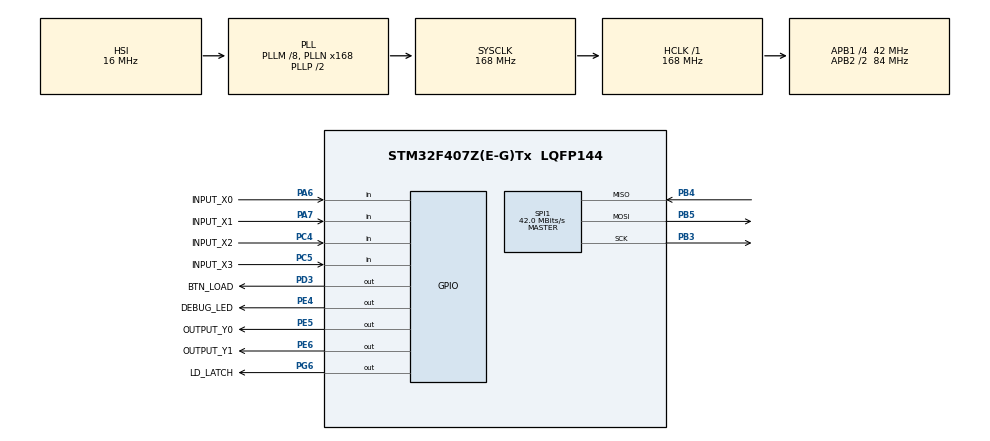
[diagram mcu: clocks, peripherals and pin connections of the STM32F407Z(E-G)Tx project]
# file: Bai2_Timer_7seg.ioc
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Mcu.Family=STM32F4
Mcu.Name=STM32F407Z(E-G)Tx
Mcu.Package=LQFP144
NVIC.PriorityGroup=NVIC_PRIORITYGROUP_4
NVIC.TIM2_IRQn=true\:0\:0\:false\:false\:true\:true\:true
PA13.Mode=Serial_Wire
PA13.Signal=SYS_JTMS-SWDIO
PA14.Mode=Serial_Wire
PA14.Signal=SYS_JTCK-SWCLK
PA6.GPIO_Label=INPUT_X0
PA6.Signal=GPIO_Input
PA7.GPIO_Label=INPUT_X1
PA7.Signal=GPIO_Input
PB3.Mode=Full_Duplex_Master
PB3.Signal=SPI1_SCK
PB4.Mode=Full_Duplex_Master
PB4.Signal=SPI1_MISO
PB5.Mode=Full_Duplex_Master
PB5.Signal=SPI1_MOSI
PC4.GPIO_Label=INPUT_X2
PC4.Signal=GPIO_Input
PC5.GPIO_Label=INPUT_X3
PC5.Signal=GPIO_Input
PD3.GPIO_Label=BTN_LOAD
PD3.Signal=GPIO_Output
PE4.GPIO_Label=DEBUG_LED
PE4.Signal=GPIO_Output
PE5.GPIO_Label=OUTPUT_Y0
PE5.Signal=GPIO_Output
PE6.GPIO_Label=OUTPUT_Y1
PE6.Signal=GPIO_Output
PG6.GPIO_Label=LD_LATCH
PG6.Signal=GPIO_Output
PH0-OSC_IN.Mode=HSE-External-Oscillator
PH0-OSC_IN.Signal=RCC_OSC_IN
PH1-OSC_OUT.Mode=HSE-External-Oscillator
PH1-OSC_OUT.Signal=RCC_OSC_OUT
ProjectManager.HeapSize=0x200
ProjectManager.StackSize=0x400
ProjectManager.TargetToolchain=STM32CubeIDE
RCC.48MHZClocksFreq_Value=84000000
RCC.AHBFreq_Value=168000000
RCC.APB1CLKDivider=RCC_HCLK_DIV4
RCC.APB1Freq_Value=42000000
RCC.APB1TimFreq_Value=84000000
RCC.APB2CLKDivider=RCC_HCLK_DIV2
RCC.APB2Freq_Value=84000000
RCC.APB2TimFreq_Value=168000000
RCC.CortexFreq_Value=168000000
RCC.HCLKFreq_Value=168000000
RCC.HSE_VALUE=8000000
RCC.HSI_VALUE=16000000
RCC.LSE_VALUE=32768
RCC.PLLM=8
RCC.PLLN=168
RCC.SYSCLKFreq_VALUE=168000000
RCC.SYSCLKSource=RCC_SYSCLKSOURCE_PLLCLK
RCC.VCOOutputFreq_Value=336000000
SPI1.BaudRatePrescaler=SPI_BAUDRATEPRESCALER_2
SPI1.CalculateBaudRate=42.0 MBits/s
SPI1.Direction=SPI_DIRECTION_2LINES
SPI1.Mode=SPI_MODE_MASTER
SPI1.VirtualType=VM_MASTER
TIM2.Period=50-1
TIM2.Prescaler=840-1
VP_TIM2_VS_ClockSourceINT.Mode=Internal
board=custom

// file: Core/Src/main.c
/* USER CODE BEGIN Header */
/**
  ******************************************************************************
  * @file           : main.c
  * @brief          : Main program body
  ******************************************************************************
  * @attention
  *
  * <h2><center>&copy; Copyright (c) 2023 STMicroelectronics.
  * All rights reserved.</center></h2>
  *
  * This software component is licensed by ST under BSD 3-Clause license,
  * the "License"; You may not use this file except in compliance with the
  * License. You may obtain a copy of the License at:
  *                        opensource.org/licenses/BSD-3-Clause
  *
  ******************************************************************************
  */
/* USER CODE END Header */
#include "main.h"
#include "spi.h"
#include "tim.h"
#include "gpio.h"

/* USER CODE BEGIN Includes */
#include "software_timer.h"
#include "led_7seg.h"
/* USER CODE END Includes */

/* USER CODE BEGIN PTD */
#ifndef EX
#define EX 5
#endif
/* USER CODE END PTD */

/* USER CODE BEGIN PV */
#if (EX == 1)
uint16_t count_led_debug = 0;
uint16_t count_led_y0 = 0;
uint16_t count_led_y1 = 0;

#elif (EX == 2)
typedef enum {STATE_RED_GREEN,
	STATE_GREEN_YELLOW,
	STATE_YELLOW_RED}
TrafficState;

TrafficState traffic_state = STATE_RED_GREEN;

uint16_t traffic_timer = 0;

#elif (EX == 3)
#define SCAN_FREQ_HZ 1

#elif (EX == 4)
uint8_t hours = 11;
uint8_t mins = 59;
uint8_t secs = 50;
uint16_t count_sec = 0;
uint16_t count_colon = 0;
uint8_t colon_state = 0;

#elif (EX == 5)
int shift_digits[4] = {1, 2, 3, 4};
uint16_t count_shift = 0;
#endif
/* USER CODE END PV */

void SystemClock_Config(void);
/* USER CODE BEGIN PFP */
//void system_init();
//void test_LedDebug();
//void test_LedY0();
//void test_LedY1();
//void test_7seg();

void system_init(void);

#if (EX == 1)
	void ex1_run(void);
#elif (EX == 2)
	void ex2_run(void);
#elif (EX == 3)
	void ex3_run(void);
#elif (EX == 4)
	void ex4_run(void);
#elif (EX == 5)
	void ex5_run(void);
#endif
/* USER CODE END PFP */

int main(void)
{

  /* MCU Configuration--------------------------------------------------------*/

  /* Reset of all peripherals, Initializes the Flash interface and the Systick. */
  HAL_Init();

  /* Configure the system clock */
  SystemClock_Config();

  /* Initialize all configured peripherals */
  MX_GPIO_Init();
  MX_TIM2_Init();
  MX_SPI1_Init();
  /* USER CODE BEGIN 2 */
  system_init();

#if (EX == 3)
    setLedScanFreq(SCAN_FREQ_HZ); // Đặt tần số 1Hz, 25Hz hoặc 100Hz
#else
    setLedScanFreq(0);            // Mặc định quét mượt 1ms (250Hz)
#endif

#if (EX != 4)
	led7_SetColon(1);
#endif
  /* USER CODE END 2 */

  /* Infinite loop */
  /* USER CODE BEGIN WHILE */
  while (1)
  {
	  while(!flag_timer2);
		  flag_timer2 = 0;

	  #if (EX == 1)
		  ex1_run();
	  #elif (EX == 2)
		  ex2_run();
	  #elif (EX == 3)
		  ex3_run();
	  #elif (EX == 4)
		  ex4_run();
	  #elif (EX == 5)
		  ex5_run();
	  #endif
    /* USER CODE END WHILE */

  }
}

void SystemClock_Config(void)
{
  RCC_OscInitTypeDef RCC_OscInitStruct = {0};
  RCC_ClkInitTypeDef RCC_ClkInitStruct = {0};

  /** Configure the main internal regulator output voltage
  */
  __HAL_RCC_PWR_CLK_ENABLE();
  __HAL_PWR_VOLTAGESCALING_CONFIG(PWR_REGULATOR_VOLTAGE_SCALE1);
  /** Initializes the RCC Oscillators according to the specified parameters
  * in the RCC_OscInitTypeDef structure.
  */
  RCC_OscInitStruct.OscillatorType = RCC_OSCILLATORTYPE_HSI;
  RCC_OscInitStruct.HSIState = RCC_HSI_ON;
  RCC_OscInitStruct.HSICalibrationValue = RCC_HSICALIBRATION_DEFAULT;
  RCC_OscInitStruct.PLL.PLLState = RCC_PLL_ON;
  RCC_OscInitStruct.PLL.PLLSource = RCC_PLLSOURCE_HSI;
  RCC_OscInitStruct.PLL.PLLM = 8;
  RCC_OscInitStruct.PLL.PLLN = 168;
  RCC_OscInitStruct.PLL.PLLP = RCC_PLLP_DIV2;
  RCC_OscInitStruct.PLL.PLLQ = 4;
  if (HAL_RCC_OscConfig(&RCC_OscInitStruct) != HAL_OK)
  {
    Error_Handler();
  }
  /** Initializes the CPU, AHB and APB buses clocks
  */
  RCC_ClkInitStruct.ClockType = RCC_CLOCKTYPE_HCLK|RCC_CLOCKTYPE_SYSCLK
                              |RCC_CLOCKTYPE_PCLK1|RCC_CLOCKTYPE_PCLK2;
  RCC_ClkInitStruct.SYSCLKSource = RCC_SYSCLKSOURCE_PLLCLK;
  RCC_ClkInitStruct.AHBCLKDivider = RCC_SYSCLK_DIV1;
  RCC_ClkInitStruct.APB1CLKDivider = RCC_HCLK_DIV4;
  RCC_ClkInitStruct.APB2CLKDivider = RCC_HCLK_DIV2;

  if (HAL_RCC_ClockConfig(&RCC_ClkInitStruct, FLASH_LATENCY_5) != HAL_OK)
  {
    Error_Handler();
  }
}

/* USER CODE BEGIN 4 */

void system_init(void)
{
  HAL_GPIO_WritePin(OUTPUT_Y0_GPIO_Port, OUTPUT_Y0_Pin, 0);
  HAL_GPIO_WritePin(OUTPUT_Y1_GPIO_Port, OUTPUT_Y1_Pin, 0);
  HAL_GPIO_WritePin(DEBUG_LED_GPIO_Port, DEBUG_LED_Pin, 0);
  timer_init();
  led7_init();
  setTimer2(50);
}

#if (EX == 1)
void ex1_run(void){
  count_led_debug = (count_led_debug + 1) % 40;
  if (count_led_debug == 0) {
    HAL_GPIO_TogglePin(DEBUG_LED_GPIO_Port, DEBUG_LED_Pin);
  }

  count_led_y0 = (count_led_y0 + 1) % 120;
  if (count_led_y0 < 40) {
    HAL_GPIO_WritePin(OUTPUT_Y0_GPIO_Port, OUTPUT_Y0_Pin, 1);
  } else {
    HAL_GPIO_WritePin(OUTPUT_Y0_GPIO_Port, OUTPUT_Y0_Pin, 0);
  }

  count_led_y1 = (count_led_y1 + 1) % 120;
  if (count_led_y1 < 100) {
    HAL_GPIO_WritePin(OUTPUT_Y1_GPIO_Port, OUTPUT_Y1_Pin, 1);
  } else {
    HAL_GPIO_WritePin(OUTPUT_Y1_GPIO_Port, OUTPUT_Y1_Pin, 0);
  }
}
#endif

#if (EX == 2)
void ex2_run(void){
  traffic_timer++;
  switch (traffic_state)
  {
    case STATE_RED_GREEN:
      HAL_GPIO_WritePin(OUTPUT_Y0_GPIO_Port, OUTPUT_Y0_Pin, 1);
      HAL_GPIO_WritePin(OUTPUT_Y1_GPIO_Port, OUTPUT_Y1_Pin, 0);
      HAL_GPIO_WritePin(DEBUG_LED_GPIO_Port, DEBUG_LED_Pin, 0);
      if (traffic_timer >= 100) {
        traffic_timer = 0;
        traffic_state = STATE_GREEN_YELLOW;
      }
      break;

    case STATE_GREEN_YELLOW:
    	HAL_GPIO_WritePin(OUTPUT_Y0_GPIO_Port, OUTPUT_Y0_Pin, 0);
	    HAL_GPIO_WritePin(OUTPUT_Y1_GPIO_Port, OUTPUT_Y1_Pin, 1);
	    HAL_GPIO_WritePin(DEBUG_LED_GPIO_Port, DEBUG_LED_Pin, 0);
      if (traffic_timer >= 60) {
        traffic_timer = 0;
        traffic_state = STATE_YELLOW_RED;
      }
      break;

    case STATE_YELLOW_RED:
    	HAL_GPIO_WritePin(OUTPUT_Y0_GPIO_Port, OUTPUT_Y0_Pin, 0);
		HAL_GPIO_WritePin(OUTPUT_Y1_GPIO_Port, OUTPUT_Y1_Pin, 0);
		HAL_GPIO_WritePin(DEBUG_LED_GPIO_Port, DEBUG_LED_Pin, 1);
      if (traffic_timer >= 20) {
        traffic_timer = 0;
        traffic_state = STATE_RED_GREEN;
      }
      break;

    default:
    	traffic_timer = 0;
    	traffic_state = STATE_RED_GREEN;
    	break;
  }
}
#endif

#if (EX == 3)
void ex3_run(void){
    led7_SetDigit(1, 0, 0);
    led7_SetDigit(2, 1, 0);
    led7_SetDigit(3, 2, 0);
    led7_SetDigit(4, 3, 0);
}
#endif

#if (EX == 4)
void ex4_run(void){
  count_colon = (count_colon + 1) % 5;
  if (count_colon == 0) {
    colon_state = !colon_state;
    led7_SetColon(colon_state);
  }

  count_sec++;
  if (count_sec >= 20) {
    count_sec = 0;
    secs++;
    if (secs >= 60) {
      secs = 0;
      mins++;
      if (mins >= 60) {
        mins = 0;
        hours = (hours + 1) % 24;
      }
    }
  }

  led7_SetDigit(hours / 10, 0, 0);
  led7_SetDigit(hours % 10, 1, 0);
  led7_SetDigit(mins / 10, 2, 0);
  led7_SetDigit(mins % 10, 3, 0);
}
#endif

#if (EX == 5)
void ex5_run(void){
  count_shift++;
  if (count_shift >= 20) {
    count_shift = 0;

    int temp = shift_digits[3];
    shift_digits[3] = shift_digits[2];
    shift_digits[2] = shift_digits[1];
    shift_digits[1] = shift_digits[0];
    shift_digits[0] = temp;
  }

  for (uint8_t i = 0; i < 4; i++) {
    led7_SetDigit(shift_digits[i], i, 0);
  }
}
#endif
/* USER CODE END 4 */

void Error_Handler(void)
{
  __disable_irq();
  while (1)
  {
  }
}

/************************ (C) COPYRIGHT STMicroelectronics *****END OF FILE****/
